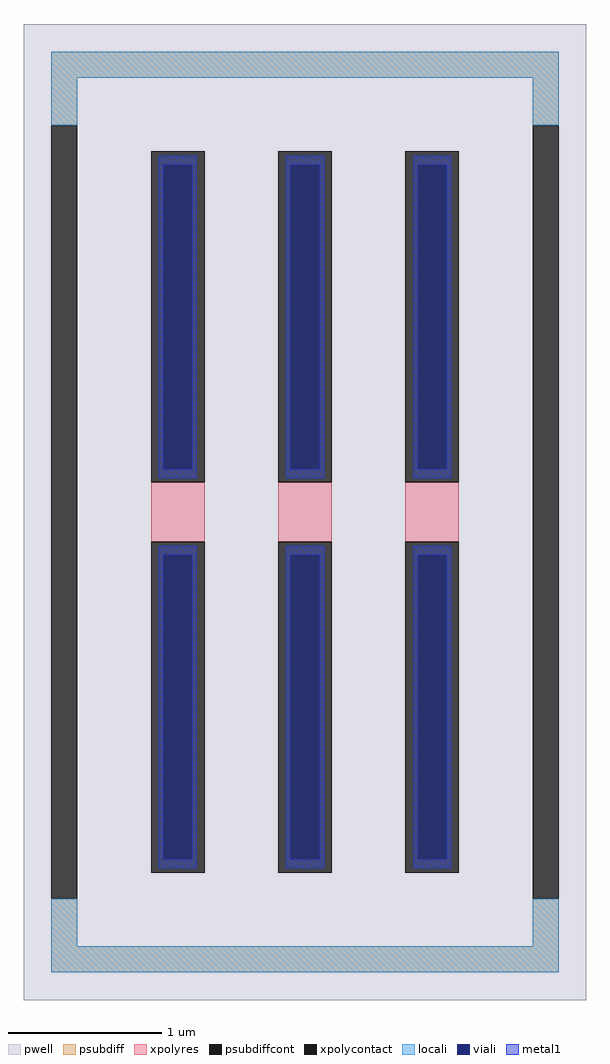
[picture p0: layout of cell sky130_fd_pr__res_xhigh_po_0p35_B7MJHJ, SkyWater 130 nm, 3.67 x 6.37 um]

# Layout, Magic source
magic
tech sky130A
magscale 1 2
<< pwell >>
rect -367 -637 367 637
<< psubdiff >>
rect -331 567 331 601
rect -331 505 -297 567
rect 297 505 331 567
rect -331 -567 -297 -505
rect 297 -567 331 -505
rect -331 -601 331 -567
<< psubdiffcont >>
rect -331 -505 -297 505
rect 297 -505 331 505
<< xpolycontact >>
rect -201 39 -131 471
rect -201 -471 -131 -39
rect -35 39 35 471
rect -35 -471 35 -39
rect 131 39 201 471
rect 131 -471 201 -39
<< xpolyres >>
rect -201 -39 -131 39
rect -35 -39 35 39
rect 131 -39 201 39
<< locali >>
rect -331 567 331 601
rect -331 505 -297 567
rect 297 505 331 567
rect -331 -567 -297 -505
rect 297 -567 331 -505
rect -331 -601 331 -567
<< viali >>
rect -185 56 -147 453
rect -19 56 19 453
rect 147 56 185 453
rect -185 -453 -147 -56
rect -19 -453 19 -56
rect 147 -453 185 -56
<< metal1 >>
rect -191 453 -141 465
rect -191 56 -185 453
rect -147 56 -141 453
rect -191 44 -141 56
rect -25 453 25 465
rect -25 56 -19 453
rect 19 56 25 453
rect -25 44 25 56
rect 141 453 191 465
rect 141 56 147 453
rect 185 56 191 453
rect 141 44 191 56
rect -191 -56 -141 -44
rect -191 -453 -185 -56
rect -147 -453 -141 -56
rect -191 -465 -141 -453
rect -25 -56 25 -44
rect -25 -453 -19 -56
rect 19 -453 25 -56
rect -25 -465 25 -453
rect 141 -56 191 -44
rect 141 -453 147 -56
rect 185 -453 191 -56
rect 141 -465 191 -453
<< properties >>
string FIXED_BBOX -314 -584 314 584
string gencell sky130_fd_pr__res_xhigh_po_0p35
string library sky130
string parameters w 0.350 l 0.55 m 1 nx 3 wmin 0.350 lmin 0.50 rho 2000 val 4.218k dummy 0 dw 0.0 term 188.2 sterm 0.0 caplen 0 wmax 0.350 guard 1 glc 1 grc 1 gtc 0 gbc 0 compatible {sky130_fd_pr__res_xhigh_po_0p35  sky130_fd_pr__res_xhigh_po_0p69 sky130_fd_pr__res_xhigh_po_1p41  sky130_fd_pr__res_xhigh_po_2p85 sky130_fd_pr__res_xhigh_po_5p73} snake 0 full_metal 1 n_guard 0 hv_guard 0 vias 1 viagb 0 viagt 0 viagl 0 viagr 0
<< end >>
